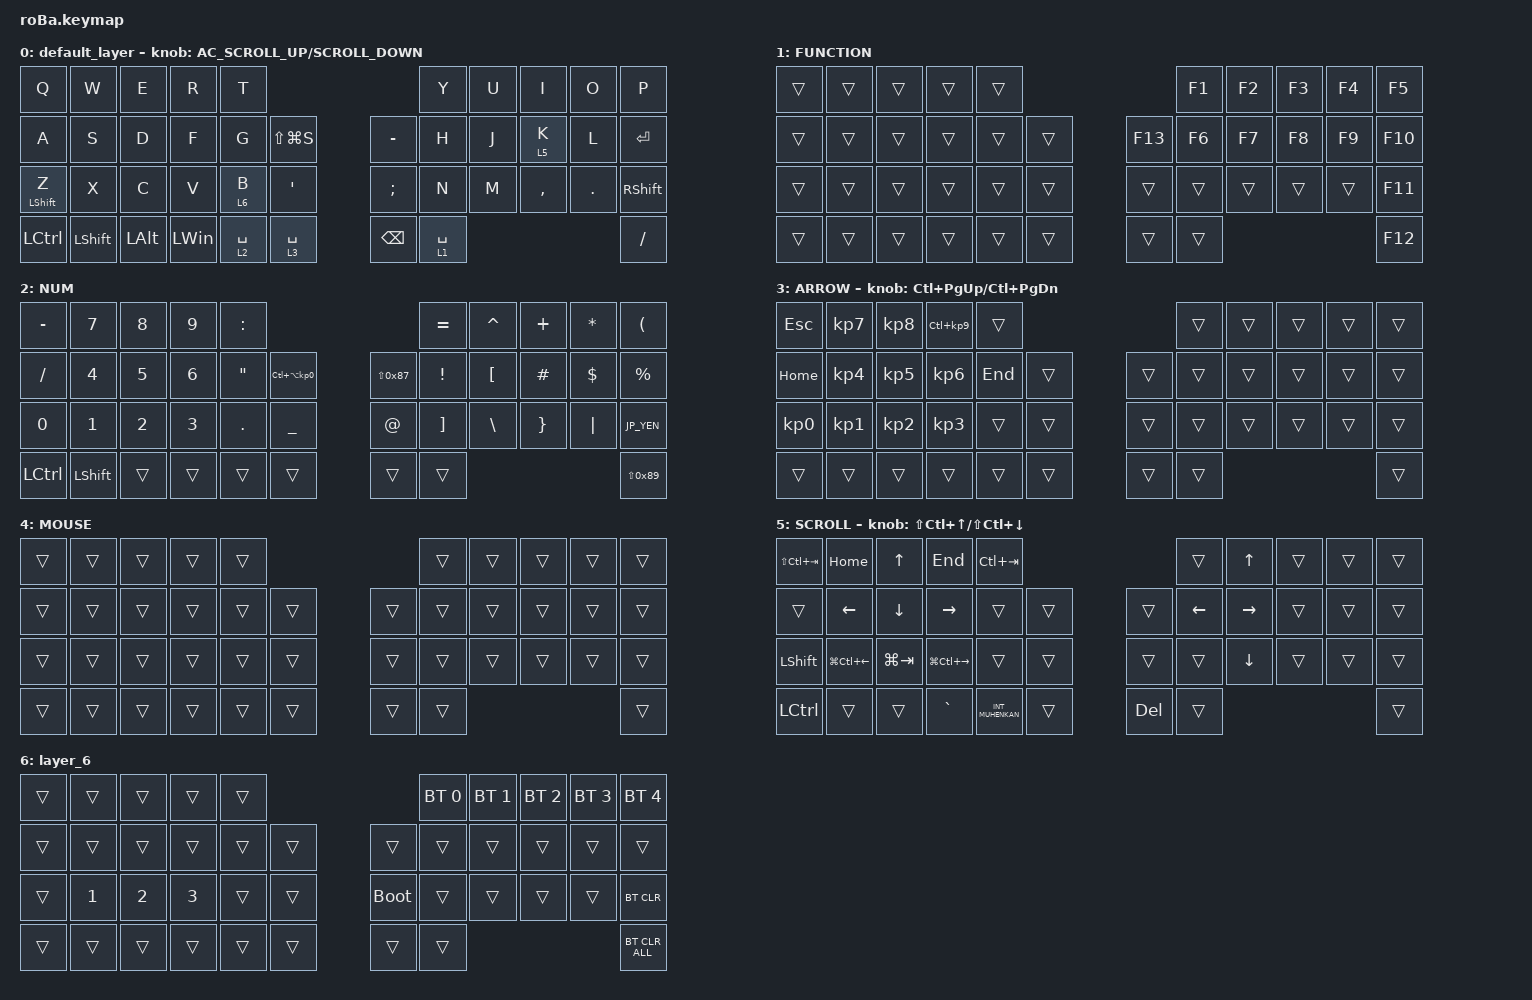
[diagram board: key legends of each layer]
// OS設定を日本語キーボードのまま使うための変換定義

#define JP_DQUOTE     AT                // "
#define JP_AMPERSAND  CARET             // &
#define JP_QUOTE      AMPERSAND         // '
#define JP_EQUAL      UNDER             // =
#define JP_CARET      EQUAL             // ^
#define JP_YEN        0x89              // ¥
#define JP_PLUS       COLON             // +
#define JP_TILDE      PLUS              // ~
#define JP_PIPE       LS(0x89)          // |
#define JP_AT         LEFT_BRACKET      // @
#define JP_COLON      SINGLE_QUOTE      // :
#define JP_ASTERISK   DOUBLE_QUOTES     // *
#define JP_BACKQUOTE  LEFT_BRACE        // `
#define JP_UNDERSCORE LS(0x87)          // _
#define JP_LBRACKET   RIGHT_BRACKET     // [
#define JP_RBRACKET   BACKSLASH         // ]
#define JP_LPAREN     ASTERISK          // (
#define JP_RPAREN     LEFT_PARENTHESIS  // )
#define JP_LBRACE     RIGHT_BRACE       // {
#define JP_RBRACE     PIPE              // }
#define JP_KANA       LANGUAGE_1        // かな
#define JP_EISU       LANGUAGE_2        // 英数
#define JP_HANZEN     GRAVE             // 半角/全角

#include <behaviors.dtsi>
#include <dt-bindings/zmk/bt.h>
#include <dt-bindings/zmk/keys.h>
#include <dt-bindings/zmk/pointing.h>

&mt {
    flavor = "balanced";
    quick-tap-ms = <0>;
};

&trackball {
    //automouse-layer = <4>;

    scroll-layers = <5>;

    // arrows {
    //     layers = <3>;
    //     bindings =
    //         <&kp RIGHT_ARROW>,
    //         <&kp LEFT_ARROW>,
    //         <&kp UP_ARROW>,
    //         <&kp DOWN_ARROW>;
    //     tick = <10>;
    //     wait-ms = <5>;
    //     tap-ms = <5>;
    // };
};

/ {
    combos {
        compatible = "zmk,combos";

        tab {
            bindings = <&kp TAB>;
            key-positions = <12 13>;
        };

        eq {
            bindings = <&kp EQUAL>;
            key-positions = <24 25>;
        };

        LeftClick {
            bindings = <&mkp MB1>;
            key-positions = <18 19>;
        };

        RightClick {
            bindings = <&mkp MB2>;
            key-positions = <19 20>;
        };

        MiddleClick {
            bindings = <&mkp MB3>;
            key-positions = <20 18 19>;
        };

        esc {
            bindings = <&kp ESC>;
            key-positions = <0 1>;
        };

        Back {
            bindings = <&kp K_BACK>;
            key-positions = <6 7>;
        };

        Forward {
            bindings = <&kp K_FORWARD>;
            key-positions = <7 8>;
        };
    };

    macros {
        to_layer_0: to_layer_0 {
            compatible = "zmk,behavior-macro-one-param";
            #binding-cells = <1>;
            bindings = <&to 0 &macro_param_1to1 &kp MACRO_PLACEHOLDER>;
            label = "TO_LAYER_0";
        };
    };

    behaviors {
        lt_to_layer_0: lt_to_layer_0 {
            compatible = "zmk,behavior-hold-tap";
            label = "LAYER_TAP_TO_0";
            bindings = <&mo>, <&to_layer_0>;

            #binding-cells = <2>;
            tapping-term-ms = <200>;
        };
    };

    keymap {
        compatible = "zmk,keymap";

        default_layer {
            bindings = <
&kp Q             &kp W       &kp E         &kp R         &kp T                                                   &kp Y        &kp U  &kp I      &kp O    &kp P
&kp A             &kp S       &kp D         &kp F         &kp G        &kp LS(LG(S))               &kp MINUS      &kp H        &kp J  &lt 5 K    &kp L    &kp ENTER
&mt LEFT_SHIFT Z  &kp X       &kp C         &kp V         &lt 6 B      &kp JP_COLON                &kp SEMICOLON  &kp N        &kp M  &kp COMMA  &kp DOT  &kp RIGHT_SHIFT
&kp LCTRL         &kp LSHIFT  &kp LEFT_ALT  &kp LEFT_WIN  &lt 2 SPACE  &lt_to_layer_0 3 SPACE      &kp BACKSPACE  &lt 1 SPACE                             &kp SLASH
            >;

            sensor-bindings = <&inc_dec_kp C_AC_SCROLL_UP K_SCROLL_DOWN>;
        };

        FUNCTION {
            bindings = <
&trans  &trans  &trans  &trans  &trans                       &kp F1  &kp F2  &kp F3  &kp F4  &kp F5
&trans  &trans  &trans  &trans  &trans  &trans      &kp F13  &kp F6  &kp F7  &kp F8  &kp F9  &kp F10
&trans  &trans  &trans  &trans  &trans  &trans      &trans   &trans  &trans  &trans  &trans  &kp F11
&trans  &trans  &trans  &trans  &trans  &trans      &trans   &trans                          &kp F12
            >;
        };

        NUM {
            bindings = <
&kp MINUS  &kp N7        &kp N8        &kp N9        &kp JP_PLUS                                                      &kp JP_CARET     &kp JP_AMPERSAND  &kp JP_TILDE   &kp JP_LPAREN  &kp JP_RPAREN
&kp SLASH  &kp NUMBER_4  &kp N5        &kp NUMBER_6  &kp JP_ASTERISK  &kp LC(LA(KP_NUMBER_0))      &kp JP_UNDERSCORE  &kp EXCLAMATION  &kp JP_AT         &kp HASH       &kp DOLLAR     &kp PERCENT
&kp N0     &kp NUMBER_1  &kp NUMBER_2  &kp NUMBER_3  &kp PERIOD       &kp JP_EQUAL                 &kp JP_DQUOTE      &kp JP_LBRACKET  &kp JP_RBRACKET   &kp JP_LBRACE  &kp JP_RBRACE  &kp JP_YEN
&kp LCTRL  &kp LSHFT     &trans        &trans        &trans           &trans                       &trans             &trans                                                           &kp JP_PIPE
            >;
        };

        ARROW {
            bindings = <
&kp ESCAPE       &kp KP_NUMBER_7  &kp KP_NUMBER_8  &kp LC(KP_NUMBER_9)  &trans                       &trans  &trans  &trans  &trans  &trans
&kp HOME         &kp KP_NUMBER_4  &kp KP_NUMBER_5  &kp KP_NUMBER_6      &kp END  &trans      &trans  &trans  &trans  &trans  &trans  &trans
&kp KP_NUMBER_0  &kp KP_NUMBER_1  &kp KP_NUMBER_2  &kp KP_NUMBER_3      &trans   &trans      &trans  &trans  &trans  &trans  &trans  &trans
&trans           &trans           &trans           &trans               &trans   &trans      &trans  &trans                          &trans
            >;

            sensor-bindings = <&inc_dec_kp LC(PAGE_UP) LC(PAGE_DOWN)>;
        };

        MOUSE {
            bindings = <
&trans  &trans  &trans  &trans  &trans                      &trans  &trans  &trans  &trans  &trans
&trans  &trans  &trans  &trans  &trans  &trans      &trans  &trans  &trans  &trans  &trans  &trans
&trans  &trans  &trans  &trans  &trans  &trans      &trans  &trans  &trans  &trans  &trans  &trans
&trans  &trans  &trans  &trans  &trans  &trans      &trans  &trans                          &trans
            >;
        };

        SCROLL {
            bindings = <
&kp LS(LC(TAB))  &kp HOME          &kp UP       &kp END            &kp LC(TAB)                            &trans          &kp UP_ARROW     &trans  &trans  &trans
&trans           &kp LEFT          &kp DOWN     &kp RIGHT          &trans            &trans      &trans   &kp LEFT_ARROW  &kp RIGHT_ARROW  &trans  &trans  &trans
&kp LSHFT        &kp LG(LC(LEFT))  &kp LG(TAB)  &kp LG(LC(RIGHT))  &trans            &trans      &trans   &trans          &kp DOWN_ARROW   &trans  &trans  &trans
&kp LCTRL        &trans            &trans       &kp JP_HANZEN      &kp INT_MUHENKAN  &trans      &kp DEL  &trans                                           &trans
            >;

            sensor-bindings = <&inc_dec_kp LS(LC(UP_ARROW)) LS(LC(DOWN_ARROW))>;
        };

        layer_6 {
            bindings = <
&trans  &trans        &trans        &trans        &trans                           &bt BT_SEL 0  &bt BT_SEL 1  &bt BT_SEL 2  &bt BT_SEL 3  &bt BT_SEL 4
&trans  &trans        &trans        &trans        &trans  &trans      &trans       &trans        &trans        &trans        &trans        &trans
&trans  &kp NUMBER_1  &kp NUMBER_2  &kp NUMBER_3  &trans  &trans      &bootloader  &trans        &trans        &trans        &trans        &bt BT_CLR
&trans  &trans        &trans        &trans        &trans  &trans      &trans       &trans                                                  &bt BT_CLR_ALL
            >;
        };
    };
};
